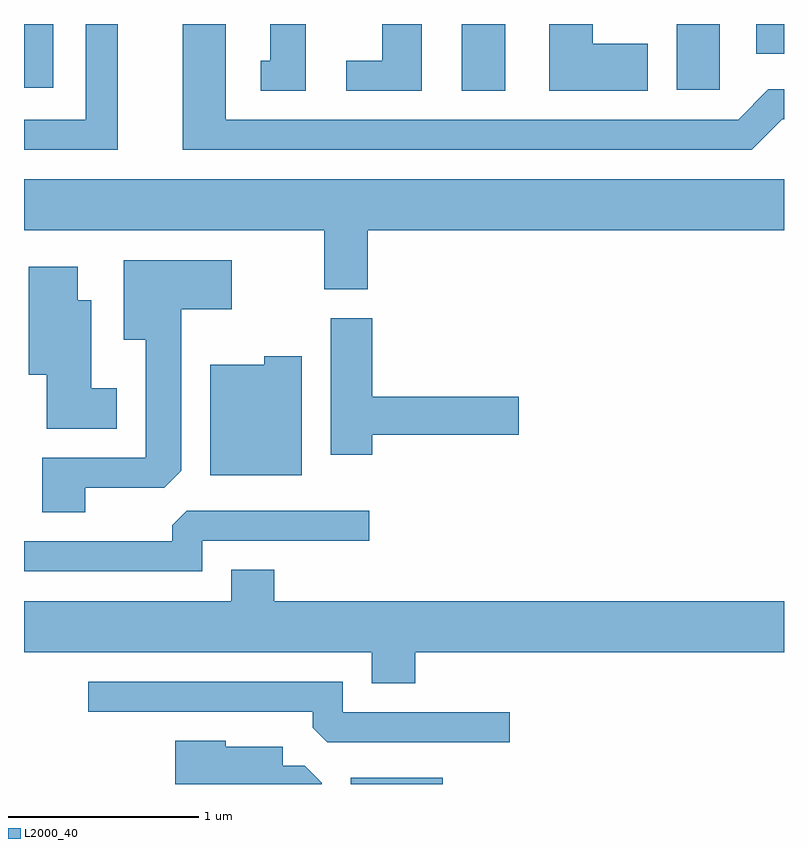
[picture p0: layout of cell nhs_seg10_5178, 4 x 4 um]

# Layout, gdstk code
import gdstk
lib = gdstk.Library(unit=1e-6, precision=1e-09)
def R(c, l, rs):  # rectangles x0, y0, x1, y1
    for r in rs: c.add(gdstk.rectangle(r[:2], r[2:], *l))
def P(c, l, *ps):  # polygons
    for p in ps: c.add(gdstk.Polygon(p, *l))
L2000_40 = (2000, 40)

nhs_seg10_5178 = lib.new_cell('nhs_seg10_5178')
R(nhs_seg10_5178, L2000_40, [(339.331,2146.522,339.814,2146.554), (339.916,2150.171,340.144,2150.522), (341.046,2150.176,341.274,2150.522), (337.611,2150.186,337.764,2150.522), (341.466,2150.366,341.611,2150.522)])
P(nhs_seg10_5178, L2000_40, [(338.104,2150.522),(337.936,2150.522),(337.936,2150.019),(337.611,2150.019),(337.611,2149.861),(338.104,2149.861)],
  [(339.704,2150.522),(339.496,2150.522),(339.496,2150.329),(339.308,2150.329),(339.308,2150.171),(339.704,2150.171)],
  [(341.602,2150.021),(341.611,2150.021),(341.611,2150.179),(341.529,2150.179),(341.369,2150.019),(338.674,2150.019),(338.674,2150.522),(338.446,2150.522),(338.446,2149.861),(341.442,2149.861)],
  [(340.894,2150.419),(340.604,2150.419),(340.604,2150.522),(340.376,2150.522),(340.376,2150.171),(340.894,2150.171)],
  [(339.094,2150.522),(338.906,2150.522),(338.906,2150.329),(338.858,2150.329),(338.858,2150.171),(339.094,2150.171)],
  [(339.419,2149.436),(341.611,2149.436),(341.611,2149.704),(337.611,2149.704),(337.611,2149.436),(339.191,2149.436),(339.191,2149.126),(339.419,2149.126)],
  [(337.934,2148.081),(338.349,2148.081),(338.439,2148.172),(338.439,2149.021),(338.704,2149.021),(338.704,2149.279),(338.136,2149.279),(338.136,2148.861),(338.251,2148.861),(338.251,2148.239),(337.706,2148.239),(337.706,2147.951),(337.934,2147.951)],
  [(338.099,2148.604),(337.964,2148.604),(337.964,2149.069),(337.894,2149.069),(337.894,2149.244),(337.636,2149.244),(337.636,2148.676),(337.731,2148.676),(337.731,2148.391),(338.099,2148.391)],
  [(339.444,2148.361),(340.214,2148.361),(340.214,2148.559),(339.444,2148.559),(339.444,2148.974),(339.226,2148.974),(339.226,2148.256),(339.444,2148.256)],
  [(339.074,2148.774),(338.876,2148.774),(338.876,2148.729),(338.591,2148.729),(338.591,2148.146),(339.074,2148.146)],
  [(338.549,2147.801),(339.428,2147.801),(339.428,2147.959),(338.467,2147.959),(338.391,2147.884),(338.391,2147.799),(337.611,2147.799),(337.611,2147.641),(338.549,2147.641)],
  [(339.669,2147.216),(341.611,2147.216),(341.611,2147.484),(338.929,2147.484),(338.929,2147.649),(338.701,2147.649),(338.701,2147.484),(337.611,2147.484),(337.611,2147.216),(339.441,2147.216),(339.441,2147.051),(339.669,2147.051)],
  [(340.168,2146.899),(339.289,2146.899),(339.289,2147.059),(337.948,2147.059),(337.948,2146.901),(339.131,2146.901),(339.131,2146.817),(339.207,2146.741),(340.168,2146.741)],
  [(339.179,2146.529),(339.089,2146.619),(338.974,2146.619),(338.974,2146.719),(338.674,2146.719),(338.674,2146.749),(338.406,2146.749),(338.406,2146.522),(339.179,2146.522)])

lib.write_gds('nhs_seg10_5178.gds')
